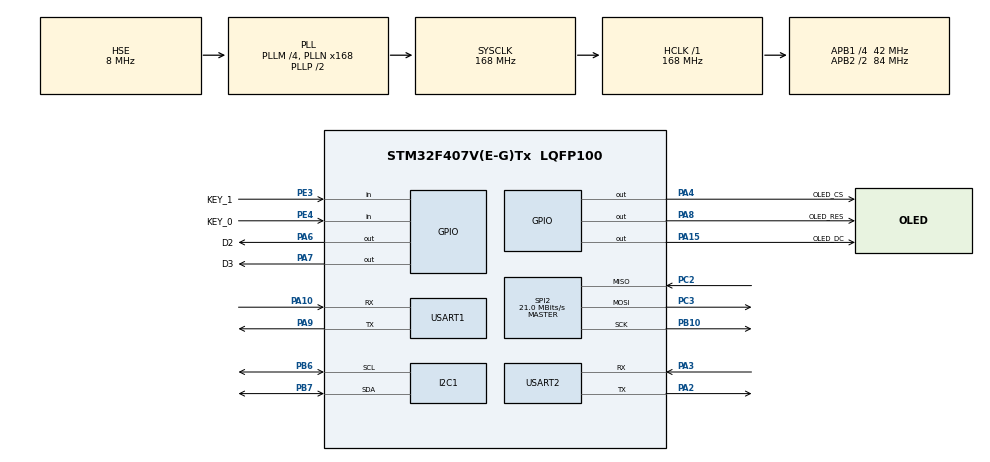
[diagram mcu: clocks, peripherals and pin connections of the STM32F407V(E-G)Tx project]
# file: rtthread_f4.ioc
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Mcu.Family=STM32F4
Mcu.Name=STM32F407V(E-G)Tx
Mcu.Package=LQFP100
NVIC.PriorityGroup=NVIC_PRIORITYGROUP_2
NVIC.USART2_IRQn=true\:2\:2\:true\:false\:true\:false\:true\:true
PA10.Mode=Asynchronous
PA10.Signal=USART1_RX
PA13.Mode=Serial_Wire
PA13.Signal=SYS_JTMS-SWDIO
PA14.Mode=Serial_Wire
PA14.Signal=SYS_JTCK-SWCLK
PA15.GPIO_Label=OLED_DC
PA15.GPIO_Speed=GPIO_SPEED_FREQ_HIGH
PA15.Signal=GPIO_Output
PA2.Mode=Asynchronous
PA2.Signal=USART2_TX
PA3.Mode=Asynchronous
PA3.Signal=USART2_RX
PA4.GPIO_Label=OLED_CS
PA4.Signal=GPIO_Output
PA6.GPIO_Label=D2
PA6.PinState=GPIO_PIN_SET
PA6.Signal=GPIO_Output
PA7.GPIO_Label=D3
PA7.PinState=GPIO_PIN_SET
PA7.Signal=GPIO_Output
PA8.GPIO_Label=OLED_RES
PA8.Signal=GPIO_Output
PA9.Mode=Asynchronous
PA9.Signal=USART1_TX
PB10.Mode=Full_Duplex_Master
PB10.Signal=SPI2_SCK
PB6.Mode=I2C
PB6.Signal=I2C1_SCL
PB7.Mode=I2C
PB7.Signal=I2C1_SDA
PC2.Mode=Full_Duplex_Master
PC2.Signal=SPI2_MISO
PC3.Mode=Full_Duplex_Master
PC3.Signal=SPI2_MOSI
PE3.GPIO_Label=KEY_1
PE3.GPIO_PuPd=GPIO_PULLUP
PE3.Signal=GPIO_Input
PE4.GPIO_Label=KEY_0
PE4.GPIO_PuPd=GPIO_PULLUP
PE4.Signal=GPIO_Input
PH0-OSC_IN.Mode=HSE-External-Oscillator
PH0-OSC_IN.Signal=RCC_OSC_IN
PH1-OSC_OUT.Mode=HSE-External-Oscillator
PH1-OSC_OUT.Signal=RCC_OSC_OUT
ProjectManager.HeapSize=0x200
ProjectManager.StackSize=0x400
ProjectManager.TargetToolchain=MDK-ARM V5.27
RCC.48MHZClocksFreq_Value=84000000
RCC.AHBFreq_Value=168000000
RCC.APB1CLKDivider=RCC_HCLK_DIV4
RCC.APB1Freq_Value=42000000
RCC.APB1TimFreq_Value=84000000
RCC.APB2CLKDivider=RCC_HCLK_DIV2
RCC.APB2Freq_Value=84000000
RCC.APB2TimFreq_Value=168000000
RCC.CortexFreq_Value=168000000
RCC.HCLKFreq_Value=168000000
RCC.HSE_VALUE=8000000
RCC.HSI_VALUE=16000000
RCC.LSE_VALUE=32768
RCC.PLLM=4
RCC.PLLN=168
RCC.PLLSourceVirtual=RCC_PLLSOURCE_HSE
RCC.SYSCLKFreq_VALUE=168000000
RCC.SYSCLKSource=RCC_SYSCLKSOURCE_PLLCLK
RCC.VCOOutputFreq_Value=336000000
RealThread.RT-Thread.3.1.3.RTAaThreadCcRTOSJjkernel=true
SPI2.CalculateBaudRate=21.0 MBits/s
SPI2.Direction=SPI_DIRECTION_2LINES
SPI2.Mode=SPI_MODE_MASTER
SPI2.VirtualType=VM_MASTER
USART1.VirtualMode=VM_ASYNC
USART2.VirtualMode=VM_ASYNC
VP_RealThread.RT-Thread_VS_RTOSJjRTAaThread_3.1.3.Mode=RTOSJjRTAaThread
board=custom

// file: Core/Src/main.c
/* USER CODE BEGIN Header */
/**
  ******************************************************************************
  * @file           : main.c
  * @brief          : Main program body
  ******************************************************************************
  * @attention
  *
  * <h2><center>&copy; Copyright (c) 2020 STMicroelectronics.
  * All rights reserved.</center></h2>
  *
  * This software component is licensed by ST under Ultimate Liberty license
  * SLA0044, the "License"; You may not use this file except in compliance with
  * the License. You may obtain a copy of the License at:
  *                             www.st.com/SLA0044
  *
  ******************************************************************************
  */
/* USER CODE END Header */
#include "main.h"
#include "i2c.h"
#include "spi.h"
#include "usart.h"
#include "gpio.h"

/* USER CODE BEGIN Includes */
#include <rtthread.h>
#include <oled.h>
#include <GUI.h>
#include <mlx90614.h>
#include "esp8266_at.h"
#include "esp8266_mqtt.h"
/* USER CODE END Includes */

/* USER CODE BEGIN PTD */
static rt_thread_t led1_thread = RT_NULL;
static rt_thread_t led2_thread = RT_NULL;

/* USER CODE END PTD */

/* USER CODE BEGIN PD */
//此处根据自己的wifi作调整
#define WIFI_NAME "OPPOA3"
#define WIFI_PASSWD "12345678"

#define MQTT_BROKERADDRESS "a1RXJrGJrIB.iot-as-mqtt.cn-shanghai.aliyuncs.com"
#define MQTT_CLIENTID "1234|securemode=3,signmethod=hmacsha1|"
#define MQTT_USARNAME "test&a1RXJrGJrIB"
#define MQTT_PASSWD "B449315815976B38ACCE28CF625472708F94C43D"
#define	MQTT_PUBLISH_TOPIC "/sys/a1RXJrGJrIB/test/thing/event/property/post"
#define MQTT_SUBSCRIBE_TOPIC "/sys/a1RXJrGJrIB/test/thing/service/property/set"
/* USER CODE END PD */

/* USER CODE BEGIN PM */
uint8_t aRxBuffer; //接收中断缓冲
//uint8_t Uart2_Rx_Cnt = 0; //接收缓冲计数
uint8_t cAlmStr[] = "数据溢出(大于256)\r\n";
uint8_t a[8];
char mqtt_message[300];	//MQTT的上报消息缓存
/* USER CODE END PM */

void SystemClock_Config(void);
/* USER CODE BEGIN PFP */
void STM32DHT11_StatusReport(int i);
int deal_MQTT_message(uint8_t* buf,uint16_t len);
extern uint8_t FindStr(char* dest,char* src,uint16_t retry_nms);

void User_Modification(uint8_t dat);
/* USER CODE END PFP */

int main(void)
{

  /* MCU Configuration--------------------------------------------------------*/

  /* Reset of all peripherals, Initializes the Flash interface and the Systick. */
  HAL_Init();

  /* Configure the system clock */
  SystemClock_Config();

  /* Initialize all configured peripherals */
  MX_GPIO_Init();
  MX_USART1_UART_Init();
  MX_USART2_UART_Init();
  MX_SPI2_Init();
  MX_I2C1_Init();
  /* USER CODE BEGIN 2 */
	HAL_UART_Receive_IT(&huart2, (uint8_t *)&aRxBuffer, 1);   //再开启接收中断
	OLED_Init();
  /* USER CODE END 2 */

  /* Infinite loop */

    /* USER CODE BEGIN 3 */

  while(!ESP8266_Init())
	{

	}
	while(!ESP8266_ConnectAP(WIFI_NAME,WIFI_PASSWD))
	{
	}
  while(ESP8266_ConnectServer("TCP",MQTT_BROKERADDRESS,1883)==0)
	{

	}
	while(MQTT_Connect(MQTT_CLIENTID, MQTT_USARNAME, MQTT_PASSWD)==0)
	{

	}
	while(MQTT_SubscribeTopic(MQTT_SUBSCRIBE_TOPIC,0,1) == 0)
	{

	}
	while(1)
	{
		HAL_GPIO_WritePin(GPIOA,GPIO_PIN_7,GPIO_PIN_RESET);
		rt_thread_delay(1000);
		//HAL_GPIO_WritePin(GPIOA,GPIO_PIN_7,GPIO_PIN_SET);
		//rt_thread_delay(1000);
		int i=1,j=0,s=0,m=0,n=0;
		float temp = 0;
		if(m==0)
		{
			STM32DHT11_StatusReport(i);
		  sprintf(mqtt_message,"{\"method\":\"thing.event.property.post\",\"id\":\"0\",\"params\":{\"human\":%d},\"version\":\"1.0.0\"}",s);
	    MQTT_PublishData(MQTT_PUBLISH_TOPIC,mqtt_message,0);
		  Show_Str(0, 2, "电梯在   楼", 16, 0);
	    OLED_ShowNum(56,2,i,1,16);
	    Show_Str(0, 5, "目前有   人", 16, 0);
	    OLED_ShowNum(56,5,s,1,16);
			m++;
		}
	  if(Uart2_Rx_Cnt)
	  {
		  j=deal_MQTT_message(usart2_rxbuf,Uart2_Rx_Cnt);
		}

		if(j==2)
		{
			while(1)
			{
//			  HAL_GPIO_WritePin(GPIOA,GPIO_PIN_7,GPIO_PIN_RESET);
//		    rt_thread_delay(1000);
//		    HAL_GPIO_WritePin(GPIOA,GPIO_PIN_7,GPIO_PIN_SET);
//		    rt_thread_delay(1000);
				STM32DHT11_StatusReport(i);
				//temp= MLX90614_ReadTemp(0x00,0x07);
				temp=36.6;
				sprintf(mqtt_message,"{\"method\":\"thing.event.property.post\",\"id\":\"0\",\"params\":{\"Temperature\":%f},\"version\":\"1.0.0\"}",temp);
	      MQTT_PublishData(MQTT_PUBLISH_TOPIC,mqtt_message,0);
				rt_thread_delay(1000);
				s++;
				sprintf(mqtt_message,"{\"method\":\"thing.event.property.post\",\"id\":\"0\",\"params\":{\"human\":%d},\"version\":\"1.0.0\"}",s);
	      MQTT_PublishData(MQTT_PUBLISH_TOPIC,mqtt_message,0);
				Show_Str(0, 2, "电梯在   楼", 16, 0);
	      OLED_ShowNum(56,2,i,1,16);
	      Show_Str(0, 5, "目前有   人", 16, 0);
	      OLED_ShowNum(56,5,s,1,16);
				j++;
				if(j==3)
				{
					for(i=1;i<=9;i++)
				  {
						Show_Str(0, 2, "电梯在   楼", 16, 0);
	          OLED_ShowNum(56,2,i,1,16);
	          Show_Str(0, 5, "目前有   人", 16, 0);
	          OLED_ShowNum(56,5,s,1,16);
					  STM32DHT11_StatusReport(i);
						 rt_thread_delay(1000);
					}
					i=i-1;
					rt_thread_delay(1000);
					s=s-1;
	        Show_Str(0, 5, "目前有   人", 16, 0);
	        OLED_ShowNum(56,5,s,1,16);
					sprintf(mqtt_message,"{\"method\":\"thing.event.property.post\",\"id\":\"0\",\"params\":{\"human\":%d},\"version\":\"1.0.0\"}",s);
	        MQTT_PublishData(MQTT_PUBLISH_TOPIC,mqtt_message,0);
					while(1)
					{
//					  HAL_GPIO_WritePin(GPIOA,GPIO_PIN_7,GPIO_PIN_RESET);
//		        rt_thread_delay(1000);
//		        HAL_GPIO_WritePin(GPIOA,GPIO_PIN_7,GPIO_PIN_SET);
//		        rt_thread_delay(1000);
						n++;
						STM32DHT11_StatusReport(i);
						rt_thread_delay(1000);
						if(n%5==0)
						{
						  HAL_GPIO_WritePin(GPIOA,GPIO_PIN_7,GPIO_PIN_SET);
						}
					}
				}
			}
		}

	}
  /* USER CODE END 3 */
}

void SystemClock_Config(void)
{
  RCC_OscInitTypeDef RCC_OscInitStruct = {0};
  RCC_ClkInitTypeDef RCC_ClkInitStruct = {0};

  /** Configure the main internal regulator output voltage
  */
  __HAL_RCC_PWR_CLK_ENABLE();
  __HAL_PWR_VOLTAGESCALING_CONFIG(PWR_REGULATOR_VOLTAGE_SCALE1);
  /** Initializes the RCC Oscillators according to the specified parameters
  * in the RCC_OscInitTypeDef structure.
  */
  RCC_OscInitStruct.OscillatorType = RCC_OSCILLATORTYPE_HSE;
  RCC_OscInitStruct.HSEState = RCC_HSE_ON;
  RCC_OscInitStruct.PLL.PLLState = RCC_PLL_ON;
  RCC_OscInitStruct.PLL.PLLSource = RCC_PLLSOURCE_HSE;
  RCC_OscInitStruct.PLL.PLLM = 4;
  RCC_OscInitStruct.PLL.PLLN = 168;
  RCC_OscInitStruct.PLL.PLLP = RCC_PLLP_DIV2;
  RCC_OscInitStruct.PLL.PLLQ = 4;
  if (HAL_RCC_OscConfig(&RCC_OscInitStruct) != HAL_OK)
  {
    Error_Handler();
  }
  /** Initializes the CPU, AHB and APB buses clocks
  */
  RCC_ClkInitStruct.ClockType = RCC_CLOCKTYPE_HCLK|RCC_CLOCKTYPE_SYSCLK
                              |RCC_CLOCKTYPE_PCLK1|RCC_CLOCKTYPE_PCLK2;
  RCC_ClkInitStruct.SYSCLKSource = RCC_SYSCLKSOURCE_PLLCLK;
  RCC_ClkInitStruct.AHBCLKDivider = RCC_SYSCLK_DIV1;
  RCC_ClkInitStruct.APB1CLKDivider = RCC_HCLK_DIV4;
  RCC_ClkInitStruct.APB2CLKDivider = RCC_HCLK_DIV2;

  if (HAL_RCC_ClockConfig(&RCC_ClkInitStruct, FLASH_LATENCY_5) != HAL_OK)
  {
    Error_Handler();
  }
}

/* USER CODE BEGIN 4 */

void HAL_UART_RxCpltCallback(UART_HandleTypeDef *huart)
{
  /* Prevent unused argument(s) compilation warning */

  UNUSED(huart);
	if(Uart2_Rx_Cnt >= 511)  //溢出判断
 {
		Uart2_Rx_Cnt = 0;
		memset(usart2_rxbuf,0x00,sizeof(usart2_rxbuf));
	}
	else
	{
		usart2_rxbuf[Uart2_Rx_Cnt++] = aRxBuffer;   //接收数据转存
		if((usart2_rxbuf[Uart2_Rx_Cnt-1] == 0x0A)&&(usart2_rxbuf[Uart2_Rx_Cnt-2] == 0x0D)) //判断结束位
		{
			Uart2_Rx_Cnt = 0;
		}
	}

	HAL_UART_Receive_IT(&huart2, (uint8_t *)&aRxBuffer, 1);   //再开启接收中断

}

void STM32DHT11_StatusReport(int i)
{
	//获取温湿度信息
	//uint8_t temperature=1;

	sprintf(mqtt_message,"{\"method\":\"thing.event.property.post\",\"id\":\"0\",\"params\":{\"Elevator\":%d},\"version\":\"1.0.0\"}",i);

	MQTT_PublishData(MQTT_PUBLISH_TOPIC,mqtt_message,0);
}

//处理MQTT下发的消息
int deal_MQTT_message(uint8_t* buf,uint16_t len)
{
//	if(FindStr((char*) usart2_rxbuf,"nightLight",200)!=0)
//	{
//		if(FindStr((char*)usart2_rxbuf,":1",200)!=0)
//		 {
//		 		HAL_GPIO_WritePin(GPIOA,GPIO_PIN_6,GPIO_PIN_RESET);
//        return 1;
//		 }
//		 else
//		 {
//		 		HAL_GPIO_WritePin(GPIOA,GPIO_PIN_6,GPIO_PIN_SET);
//		 }
//	 }
   if(FindStr((char*) usart2_rxbuf,"begin",200)!=0)
	 {
	   HAL_GPIO_WritePin(GPIOA,GPIO_PIN_6,GPIO_PIN_RESET);
		 return 1;
	 }
   if(FindStr((char*) usart2_rxbuf,"end",200)!=0)
	 {
	   HAL_GPIO_WritePin(GPIOA,GPIO_PIN_6,GPIO_PIN_SET);
		 return 2;
	 }
   memset(usart2_rxbuf,0,sizeof(usart2_rxbuf)); //清空接收缓冲
	 return 0;

}

/* USER CODE END 4 */

void Error_Handler(void)
{
}

/************************ (C) COPYRIGHT STMicroelectronics *****END OF FILE****/
